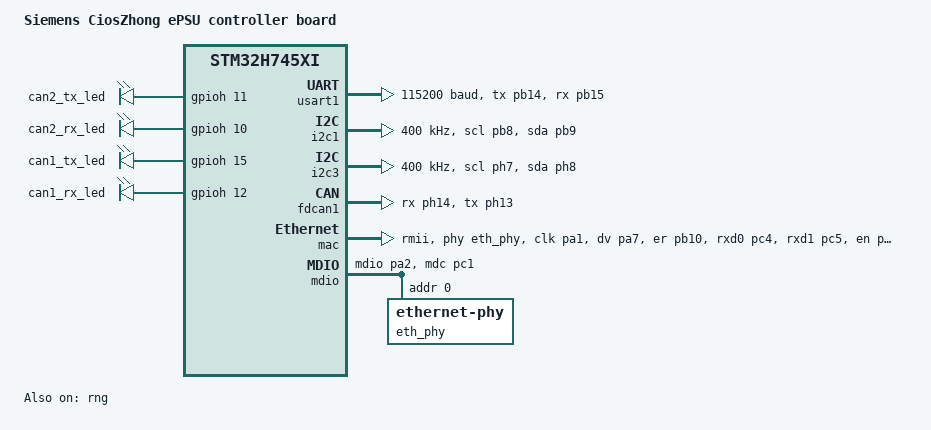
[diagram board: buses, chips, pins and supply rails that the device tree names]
/*
 * cioszhong_psu_stm32h745xx_m7.dts — CiosZhong ePSU controller, CM7 core
 *
 * Clock configuration:
 *   HSE = 25 MHz external clock on PH0 (OSC_25M, bypass mode).
 *   PLL1: div-m = 5, mul-n = 192, div-p = 2
 *     VCO_in  = 25/5 = 5 MHz     (H7 PLL input range 1-16 MHz)
 *     VCO     = 5*192 = 960 MHz  (within 192-960 MHz)
 *     PLL1P   = 960/2 = 480 MHz  = SYSCLK (unchanged from NUCLEO config)
 *     PLL1Q   = 960/8 = 120 MHz  (unchanged)
 *     PLL1R   = 960/2 = 480 MHz  (unchanged)
 *
 * SPDX-License-Identifier: Apache-2.0
 */

/dts-v1/;
#include <st/h7/stm32h745Xi_m7.dtsi>
#include "cioszhong_psu.dtsi"

/ {
	model = "Siemens CiosZhong ePSU controller board";
	compatible = "siemens,cioszhong-psu";

	/* HW resources belonging to CM7 */
	chosen {
		zephyr,console = &usart1;
		zephyr,shell-uart = &usart1;
		zephyr,dtcm = &dtcm;
		zephyr,sram = &sram0;
		zephyr,flash = &flash0;
		zephyr,canbus = &fdcan1;
	};

	aliases {
		led0 = &green_led;
	};
};

/*
 * TEMP BRING-UP: use the internal HSI (64 MHz) so the firmware no longer
 * depends on the external 25 MHz clock source on PH0. Set back to HSE
 * once the board is verified. (See git history for the HSE 25 MHz config.)
 */
&clk_hsi {
	status = "okay";
};

/* HSI48: the STM32 RNG kernel clock (RNGSEL defaults to HSI48). Without it
 * the entropy driver spins forever on the RNG DRDY bit during boot. */
&clk_hsi48 {
	status = "okay";
};

&clk_hse {
	status = "disabled";
};

&pll {
	div-m = <8>;    /* HSI 64 MHz / 8 = 8 MHz VCO-in */
	mul-n = <120>;  /* VCO = 960 MHz */
	div-p = <2>;    /* SYSCLK = 480 MHz */
	div-q = <8>;    /* PLL1Q = 120 MHz */
	div-r = <2>;    /* PLL1R = 480 MHz */
	clocks = <&clk_hsi>;
	status = "okay";
};

&rcc {
	clocks = <&pll>;
	clock-frequency = <DT_FREQ_M(480)>;
};

/* USART1 on PB14(TX)/PB15(RX) is the product debug/host UART.
 * USART3 is not used on this board (PB10/PB11 are ethernet signals). */
&usart1 {
	pinctrl-0 = <&usart1_tx_pb14 &usart1_rx_pb15>;
	pinctrl-names = "default";
	current-speed = <115200>;
	status = "okay";
};

&usart3 {
	status = "disabled";
};

/* I2C1 on PB8/PB9 (TMP75 temperature sensor @0x48) */
&i2c1 {
	pinctrl-0 = <&i2c1_scl_pb8 &i2c1_sda_pb9>;
	pinctrl-names = "default";
	status = "okay";
	clock-frequency = <I2C_BITRATE_FAST>;
};

/* I2C3 on PH7/PH8 (identity EEPROM M24512 @0x50, WP tied to GND) */
&i2c3 {
	pinctrl-0 = <&i2c3_scl_ph7 &i2c3_sda_ph8>;
	pinctrl-names = "default";
	status = "okay";
	clock-frequency = <I2C_BITRATE_FAST>;
};

/*
 * CAN per product pin_config.xlsx / 实测接线：
 *   CAN2: PB13 (can2_tx) / PB5  (can2_rx)   -> FDCAN2  ← 产品实际使用的这路
 *   CAN1: PH13 (can1_tx) / PH14 (can1_rx)   -> FDCAN1  ← 当前使用(zephyr,canbus)
 *
 * 注意：本板没有外部晶振（&clk_hse status = disabled），而 H7 的
 * D2CCIP1R.FDCANSEL 复位默认是 HSE → 控制器会拿不到内核时钟、
 * can_start() 返回 -EAGAIN。内核时钟切到 PLL1Q 的动作在
 * application/src/main/main.c 的 canopenInit() 里用 LL_RCC 完成
 * （Zephyr 的 H7 时钟驱动不会写这个 mux）。
 */
&fdcan1 {
	clocks = <&rcc STM32_CLOCK(APB1_2, 8)>,
		 <&rcc STM32_SRC_PLL1_Q FDCAN_SEL(1)>;
	pinctrl-0 = <&fdcan1_rx_ph14 &fdcan1_tx_ph13>;
	pinctrl-names = "default";
	status = "okay";
};

/* CAN 活动指示灯（pin_config.xlsx：CAN1 = PH15/PH12，CAN2 = PH11/PH10）。
 * 固件在发送/接收时翻转它们，台架上可直观判断总线上到底有没有动作。
 * 用自定义 compatible（无需 LED 子系统驱动），驱动里用 GPIO_DT_SPEC_GET 取用。*/
/ {
	can_activity_leds {
		/* 用标准 gpio-leds binding，这样 gpios 会被正确解析成 phandle-array；
		 * 不需要打开 CONFIG_LED —— 驱动里直接用 GPIO_DT_SPEC_GET 手动翻转。*/
		compatible = "gpio-leds";

		can2_tx_led: can2_tx_led {
			gpios = <&gpioh 11 GPIO_ACTIVE_HIGH>;
		};

		can2_rx_led: can2_rx_led {
			gpios = <&gpioh 10 GPIO_ACTIVE_HIGH>;
		};

		can1_tx_led: can1_tx_led {
			gpios = <&gpioh 15 GPIO_ACTIVE_HIGH>;
		};

		can1_rx_led: can1_rx_led {
			gpios = <&gpioh 12 GPIO_ACTIVE_HIGH>;
		};
	};
};

&fdcan2 {
	/* 本板实际接线在 CAN1(PH13/PH14)；CAN2 保留但不启用 */
	status = "disabled";
	clocks = <&rcc STM32_CLOCK(APB1_2, 8)>,
		 <&rcc STM32_SRC_PLL1_Q FDCAN_SEL(1)>;
	pinctrl-0 = <&fdcan2_rx_pb5 &fdcan2_tx_pb13>;
	pinctrl-names = "default";
};

/* ==================== Ethernet (RMII) ====================
 * RMII pins per pin_config.xlsx:
 *   PA1 ref_clk, PA2 mdio, PA7 crs_dv, PB10 rx_er, PC1 mdc,
 *   PC4 rxd0, PC5 rxd1, PG11 tx_en, PG12 txd1, PG13 txd0.
 * PHY: MDIO address 0 (to be confirmed against the schematic). */
&mac {
	status = "okay";
	pinctrl-0 = <&eth_ref_clk_pa1
		     &eth_crs_dv_pa7
		     &eth_rx_er_pb10
		     &eth_rxd0_pc4
		     &eth_rxd1_pc5
		     &eth_tx_en_pg11
		     &eth_txd0_pg13
		     &eth_txd1_pg12>;
	pinctrl-names = "default";
	phy-connection-type = "rmii";
	phy-handle = <&eth_phy>;
};

&mdio {
	status = "okay";
	pinctrl-0 = <&eth_mdio_pa2 &eth_mdc_pc1>;
	pinctrl-names = "default";

	eth_phy: ethernet-phy@0 {
		compatible = "ethernet-phy";
		reg = <0x00>;
	};
};

/* RNG: provides entropy for sys_rand_get() (IPv6 / MAC randomisation) */
&rng {
	status = "okay";
};

/* ==================== MCUboot dual-slot flash layout ====================
 * Mirrors the WORKING Ethernet-upgrade reference project (ciosZhong_ePSU
 * @ zephyrproject/build_epsu, nucleo_h745zi_q): flash0 is declared as ONE
 * contiguous 2 MB device covering bank1 (0x08000000) + bank2 (0x08100000).
 * A separate flash1 device is NEVER created. Reg offsets are relative to
 * 0x08000000:
 *   boot    128KB @ 0x00000000  (MCUboot)
 *   slot0   512KB @ 0x00020000  (primary app image)
 *   slot1   512KB @ 0x00100000  (secondary / DFU staging image, on bank2)
 * Upgrade mode: SWAP_USING_OFFSET — no scratch partition required.
 * Defined here so both the MCUboot bootloader build and the app build
 * agree on the layout. */
&flash0 {
	reg = <0x08000000 DT_SIZE_M(2)>;
	ranges = <0 0x08000000 DT_SIZE_M(2)>;

	partitions {
		compatible = "fixed-partitions";
		#address-cells = <1>;
		#size-cells = <1>;

		boot_partition: partition@0 {
			label = "mcuboot";
			reg = <0x00000000 DT_SIZE_K(128)>;
			read-only;
		};

		slot0_partition: partition@20000 {
			label = "image-0";
			reg = <0x00020000 DT_SIZE_K(512)>;
		};

		slot1_partition: partition@100000 {
			label = "image-1";
			reg = <0x00100000 DT_SIZE_K(512)>;
		};
	};
};
